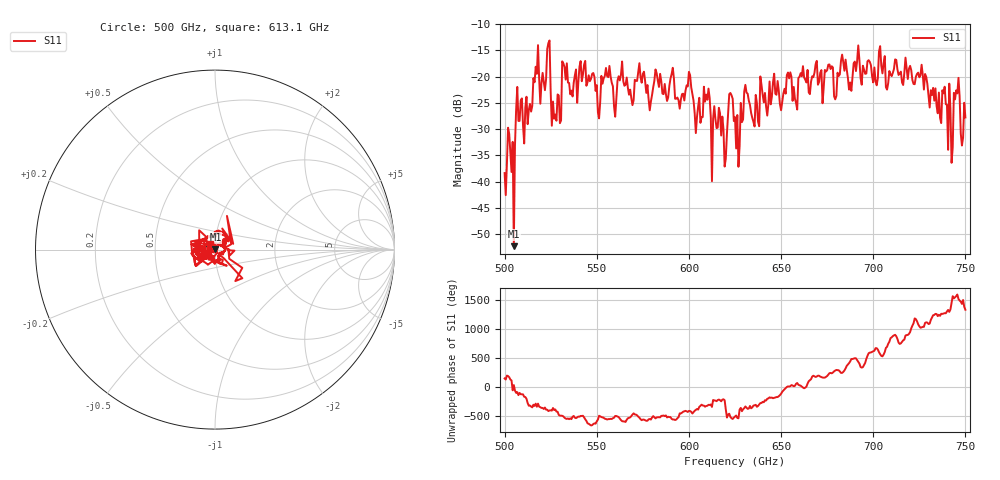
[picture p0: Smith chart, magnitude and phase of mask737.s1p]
!Created with skrf (http://scikit-rf.org).
# GHz S MA R 50.0
!freq magS11 angS11
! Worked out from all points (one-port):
!   401 points, 500 GHz to 750 GHz, reference 50 ohm
!   lowest |S11| = -52.2 dB at 505 GHz (marker M1), VSWR 1.00, Z = 50.2 + j0.125 ohm
!   |S11| at or under -10 dB: start of sweep to end of sweep
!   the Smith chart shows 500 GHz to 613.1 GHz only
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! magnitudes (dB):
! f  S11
! 500 GHz  -38.3
! 503.1 GHz  -34.4
! 505 GHz  -52.2
! 507.5 GHz  -28.4
! 513.8 GHz  -25.2
! 516.9 GHz  -18.1
! 520.6 GHz  -19.3
! 523.8 GHz  -13.6
! 526.9 GHz  -28.0
! 531.2 GHz  -17.1
! 542.5 GHz  -19.6
! 550.6 GHz  -26.8
! 562.5 GHz  -20.7
! 593.8 GHz  -24.0
! 609.4 GHz  -23.4
! 618.8 GHz  -30.1
! 622.5 GHz  -23.1
! 625 GHz  -27.7
! 656.2 GHz  -24.6
! 680 GHz  -23.7
! 683.8 GHz  -17.3
! 687.5 GHz  -21.1
! 691.2 GHz  -17.1
! 718.8 GHz  -20.5
! 738.8 GHz  -21.9
! 741.9 GHz  -26.1
! 745 GHz  -22.6
! 750 GHz  -27.8
